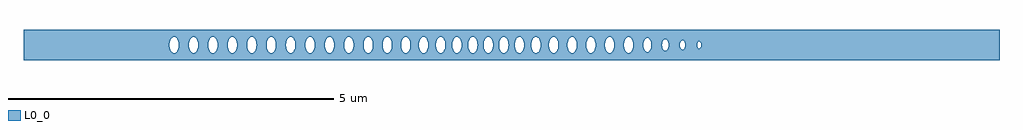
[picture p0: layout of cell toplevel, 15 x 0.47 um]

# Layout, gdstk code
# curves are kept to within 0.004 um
import gdstk
lib = gdstk.Library(unit=1e-6, precision=1e-09)
def P(c, l, *ps):  # polygons
    for p in ps: c.add(gdstk.Polygon(p, *l))
L0_0 = (0, 0)

toplevel = lib.new_cell('toplevel')
P(toplevel, L0_0, [(-4.635,-0.234),(-4.635,-0.098),(-4.65,-0.068),(-4.661,-0.008),(-4.656,0.047),(-4.635,0.098),(-4.635,0.234),(-7.5,0.234),(-7.5,-0.008),(-5.258,-0.008),(-5.253,0.047),(-5.235,0.093),(-5.212,0.119),(-5.185,0.128),(-5.151,0.112),(-5.127,0.075),(-5.115,0.032),(-5.114,-0.016),(-4.959,-0.016),(-4.956,0.039),(-4.943,0.081),(-4.914,0.119),(-4.887,0.128),(-4.86,0.119),(-4.837,0.093),(-4.821,0.054),(-4.814,0),(-4.821,-0.054),(-4.837,-0.093),(-4.86,-0.119),(-4.887,-0.128),(-4.914,-0.119),(-4.933,-0.098),(-4.948,-0.068),(-4.959,-0.016),(-5.114,-0.016),(-5.124,-0.068),(-5.139,-0.098),(-5.159,-0.119),(-5.185,-0.128),(-5.212,-0.119),(-5.232,-0.098),(-5.247,-0.068),(-5.258,-0.008),(-7.5,-0.008),(-7.5,-0.234)],
  [(-4.061,0.032),(-4.041,0.093),(-4.018,0.119),(-3.996,0.127),(-3.996,0.234),(-4.635,0.234),(-4.635,0.098),(-4.615,0.119),(-4.588,0.128),(-4.553,0.112),(-4.53,0.075),(-4.521,0.047),(-4.517,-0.016),(-4.362,-0.016),(-4.359,0.039),(-4.346,0.081),(-4.317,0.119),(-4.29,0.128),(-4.263,0.119),(-4.24,0.093),(-4.224,0.054),(-4.217,0),(-4.224,-0.054),(-4.24,-0.093),(-4.263,-0.119),(-4.29,-0.128),(-4.317,-0.119),(-4.336,-0.098),(-4.351,-0.068),(-4.362,-0.016),(-4.517,-0.016),(-4.53,-0.075),(-4.562,-0.119),(-4.588,-0.128),(-4.602,-0.125),(-4.635,-0.098),(-4.635,-0.234),(-3.996,-0.234),(-3.996,-0.127),(-4.026,-0.112),(-4.05,-0.075),(-4.064,-0.008)],
  [(-3.464,0.032),(-3.453,0.075),(-3.421,0.119),(-3.394,0.128),(-3.381,0.125),(-3.359,0.112),(-3.345,0.093),(-3.345,0.234),(-3.996,0.234),(-3.996,0.127),(-3.965,0.119),(-3.942,0.093),(-3.922,0.039),(-3.92,-0.016),(-3.765,-0.016),(-3.762,0.039),(-3.749,0.081),(-3.728,0.112),(-3.693,0.128),(-3.666,0.119),(-3.643,0.093),(-3.627,0.054),(-3.62,0),(-3.627,-0.054),(-3.643,-0.093),(-3.666,-0.119),(-3.693,-0.128),(-3.719,-0.119),(-3.739,-0.098),(-3.754,-0.068),(-3.765,-0.016),(-3.92,-0.016),(-3.93,-0.068),(-3.945,-0.098),(-3.965,-0.119),(-3.996,-0.127),(-3.996,-0.234),(-3.345,-0.234),(-3.345,-0.093),(-3.368,-0.119),(-3.394,-0.128),(-3.421,-0.119),(-3.433,-0.108),(-3.462,-0.047),(-3.467,-0.008)],
  [(-2.569,-0.032),(-2.568,0.234),(-3.345,0.234),(-3.345,0.093),(-3.325,0.039),(-3.322,-0.016),(-3.168,-0.016),(-3.165,0.039),(-3.152,0.081),(-3.131,0.112),(-3.096,0.128),(-3.069,0.119),(-3.046,0.093),(-3.028,0.047),(-3.024,-0.008),(-2.87,-0.008),(-2.865,0.047),(-2.847,0.093),(-2.824,0.119),(-2.797,0.128),(-2.771,0.119),(-2.751,0.098),(-2.736,0.068),(-2.725,0.016),(-2.728,-0.039),(-2.741,-0.081),(-2.762,-0.112),(-2.797,-0.128),(-2.824,-0.119),(-2.847,-0.093),(-2.865,-0.047),(-2.87,-0.008),(-3.024,-0.008),(-3.028,-0.047),(-3.046,-0.093),(-3.069,-0.119),(-3.096,-0.128),(-3.122,-0.119),(-3.142,-0.098),(-3.157,-0.068),(-3.168,-0.016),(-3.322,-0.016),(-3.333,-0.068),(-3.345,-0.093),(-3.345,-0.234),(-2.568,-0.234)],
  [(-2.568,-0.234),(-1.94,-0.234),(-1.94,-0.115),(-1.968,-0.075),(-1.982,0),(-1.968,0.075),(-1.94,0.115),(-1.94,0.234),(-2.568,0.234),(-2.568,0.039),(-2.555,0.081),(-2.538,0.108),(-2.499,0.128),(-2.472,0.119),(-2.449,0.093),(-2.431,0.047),(-2.427,-0.008),(-2.274,-0.008),(-2.269,0.047),(-2.251,0.093),(-2.228,0.119),(-2.202,0.128),(-2.175,0.119),(-2.155,0.098),(-2.14,0.068),(-2.129,0.008),(-2.134,-0.047),(-2.152,-0.093),(-2.175,-0.119),(-2.202,-0.128),(-2.228,-0.119),(-2.248,-0.098),(-2.263,-0.068),(-2.274,-0.008),(-2.427,-0.008),(-2.431,-0.047),(-2.449,-0.093),(-2.472,-0.119),(-2.499,-0.128),(-2.538,-0.108),(-2.555,-0.081),(-2.568,-0.04)],
  [(-1.932,0.121),(-1.909,0.128),(-1.87,0.108),(-1.848,0.068),(-1.837,0),(-1.698,0),(-1.691,0.054),(-1.675,0.093),(-1.652,0.119),(-1.625,0.128),(-1.612,0.125),(-1.586,0.108),(-1.569,0.081),(-1.556,0.039),(-1.553,-0.016),(-1.564,-0.068),(-1.579,-0.098),(-1.598,-0.119),(-1.625,-0.128),(-1.652,-0.119),(-1.675,-0.093),(-1.691,-0.054),(-1.698,0),(-1.837,0),(-1.848,-0.068),(-1.87,-0.108),(-1.909,-0.128),(-1.94,-0.115),(-1.94,-0.234),(-1.347,-0.234),(-1.347,-0.127),(-1.378,-0.119),(-1.398,-0.098),(-1.413,-0.068),(-1.424,-0.008),(-1.419,0.047),(-1.401,0.093),(-1.378,0.119),(-1.347,0.127),(-1.347,0.234),(-1.94,0.234),(-1.94,0.115)],
  [(-1.347,0.234),(-1.347,0.127),(-1.325,0.119),(-1.302,0.093),(-1.284,0.047),(-1.279,-0.008),(-1.162,-0.008),(-1.157,0.047),(-1.139,0.093),(-1.116,0.119),(-1.089,0.128),(-1.063,0.119),(-1.043,0.098),(-1.028,0.068),(-1.017,0.008),(-1.022,-0.047),(-1.04,-0.093),(-1.063,-0.119),(-1.089,-0.128),(-1.116,-0.119),(-1.136,-0.098),(-1.151,-0.068),(-1.162,-0.008),(-1.279,-0.008),(-1.284,-0.047),(-1.302,-0.093),(-1.325,-0.119),(-1.347,-0.127),(-1.347,-0.234),(-0.768,-0.234),(-0.768,-0.034),(-0.779,-0.075),(-0.795,-0.103),(-0.811,-0.119),(-0.838,-0.128),(-0.864,-0.119),(-0.884,-0.098),(-0.899,-0.068),(-0.91,-0.016),(-0.908,0.032),(-0.899,0.068),(-0.873,0.112),(-0.851,0.125),(-0.824,0.125),(-0.799,0.108),(-0.779,0.075),(-0.768,0.032),(-0.768,0.234)],
  [(-0.168,-0.234),(-0.168,-0.093),(-0.186,-0.047),(-0.191,-0.008),(-0.186,0.047),(-0.168,0.093),(-0.168,0.234),(-0.768,0.234),(-0.765,-0.008),(-0.667,-0.008),(-0.662,0.047),(-0.644,0.093),(-0.621,0.119),(-0.594,0.128),(-0.559,0.112),(-0.536,0.075),(-0.524,0.032),(-0.523,-0.016),(-0.428,-0.016),(-0.425,0.039),(-0.412,0.081),(-0.391,0.112),(-0.356,0.128),(-0.329,0.119),(-0.306,0.093),(-0.29,0.054),(-0.283,0),(-0.29,-0.054),(-0.306,-0.093),(-0.329,-0.119),(-0.356,-0.128),(-0.382,-0.119),(-0.402,-0.098),(-0.417,-0.068),(-0.428,-0.016),(-0.523,-0.016),(-0.533,-0.068),(-0.548,-0.098),(-0.568,-0.119),(-0.594,-0.128),(-0.621,-0.119),(-0.641,-0.098),(-0.658,-0.061),(-0.667,-0.008),(-0.765,-0.008),(-0.768,-0.234)],
  [(0.305,0.016),(0.315,0.068),(0.338,0.108),(0.363,0.125),(0.394,0.123),(0.394,0.234),(-0.168,0.234),(-0.168,0.093),(-0.153,0.112),(-0.132,0.125),(-0.119,0.128),(-0.092,0.119),(-0.072,0.098),(-0.057,0.068),(-0.046,-0.008),(0.05,-0.008),(0.055,0.047),(0.073,0.093),(0.096,0.119),(0.123,0.128),(0.149,0.119),(0.169,0.098),(0.184,0.068),(0.195,0.008),(0.19,-0.047),(0.172,-0.093),(0.149,-0.119),(0.123,-0.128),(0.096,-0.119),(0.076,-0.098),(0.061,-0.068),(0.05,-0.008),(-0.046,-0.008),(-0.057,-0.068),(-0.072,-0.098),(-0.092,-0.119),(-0.119,-0.128),(-0.132,-0.125),(-0.153,-0.112),(-0.168,-0.093),(-0.168,-0.234),(0.394,-0.234),(0.394,-0.123),(0.363,-0.125),(0.33,-0.098),(0.309,-0.047)],
  [(0.394,0.234),(0.394,0.123),(0.415,0.108),(0.435,0.075),(0.449,0),(0.575,0),(0.582,0.054),(0.598,0.093),(0.621,0.119),(0.648,0.128),(0.675,0.119),(0.694,0.098),(0.709,0.068),(0.72,0.016),(0.717,-0.039),(0.704,-0.081),(0.675,-0.119),(0.648,-0.128),(0.621,-0.119),(0.598,-0.093),(0.582,-0.054),(0.575,0),(0.449,0),(0.435,-0.075),(0.415,-0.108),(0.394,-0.123),(0.394,-0.234),(1.001,-0.234),(1.001,-0.04),(0.991,-0.075),(0.975,-0.103),(0.959,-0.119),(0.932,-0.128),(0.905,-0.119),(0.882,-0.093),(0.866,-0.054),(0.86,-0.016),(0.862,0.032),(0.873,0.075),(0.893,0.108),(0.918,0.125),(0.946,0.125),(0.971,0.108),(0.991,0.075),(1.001,0.039),(1.001,0.234)],
  [(1.757,-0.234),(1.757,-0.103),(1.738,-0.068),(1.727,-0.016),(1.732,0.047),(1.757,0.103),(1.757,0.234),(1.001,0.234),(1.004,-0.016),(1.148,-0.016),(1.15,0.032),(1.161,0.075),(1.185,0.112),(1.22,0.128),(1.247,0.119),(1.27,0.093),(1.286,0.054),(1.292,-0.016),(1.436,-0.016),(1.439,0.039),(1.452,0.081),(1.481,0.119),(1.508,0.128),(1.535,0.119),(1.558,0.093),(1.572,0.061),(1.58,0.016),(1.578,-0.032),(1.567,-0.075),(1.543,-0.112),(1.508,-0.128),(1.481,-0.119),(1.462,-0.098),(1.447,-0.068),(1.436,-0.016),(1.292,-0.016),(1.286,-0.054),(1.27,-0.093),(1.247,-0.119),(1.22,-0.128),(1.193,-0.119),(1.17,-0.093),(1.148,-0.016),(1.004,-0.016),(1.001,-0.234)],
  [(1.764,0.112),(1.799,0.128),(1.826,0.119),(1.838,0.108),(1.863,0.061),(1.871,-0.007),(2.025,-0.007),(2.028,0.034),(2.045,0.08),(2.068,0.104),(2.099,0.108),(2.118,0.096),(2.138,0.064),(2.15,-0.007),(2.144,-0.047),(2.13,-0.08),(2.11,-0.102),(2.088,-0.11),(2.065,-0.102),(2.045,-0.08),(2.031,-0.047),(2.025,-0.007),(1.871,-0.007),(1.858,-0.075),(1.826,-0.119),(1.79,-0.126),(1.772,-0.119),(1.757,-0.103),(1.757,-0.234),(2.374,-0.234),(2.374,-0.09),(2.351,-0.089),(2.333,-0.074),(2.318,-0.044),(2.312,-0.011),(2.314,0.028),(2.328,0.067),(2.351,0.089),(2.374,0.09),(2.374,0.234),(1.757,0.234),(1.757,0.103)],
  [(2.413,-0.028),(2.4,-0.067),(2.374,-0.09),(2.374,-0.234),(7.5,-0.234),(7.5,0.234),(2.374,0.234),(2.374,0.09),(2.395,0.074),(2.41,0.044),(2.415,-0.014),(2.587,-0.014),(2.587,0.014),(2.596,0.047),(2.608,0.065),(2.626,0.074),(2.646,0.067),(2.657,0.054),(2.67,-0.003),(2.853,-0.003),(2.863,0.041),(2.883,0.056),(2.904,0.045),(2.916,0.014),(2.911,-0.033),(2.897,-0.052),(2.887,-0.056),(2.873,-0.052),(2.863,-0.041),(2.853,-0.003),(2.67,-0.003),(2.661,-0.047),(2.649,-0.065),(2.631,-0.074),(2.604,-0.06),(2.587,-0.014),(2.415,-0.014)])

lib.write_gds('toplevel.gds')
